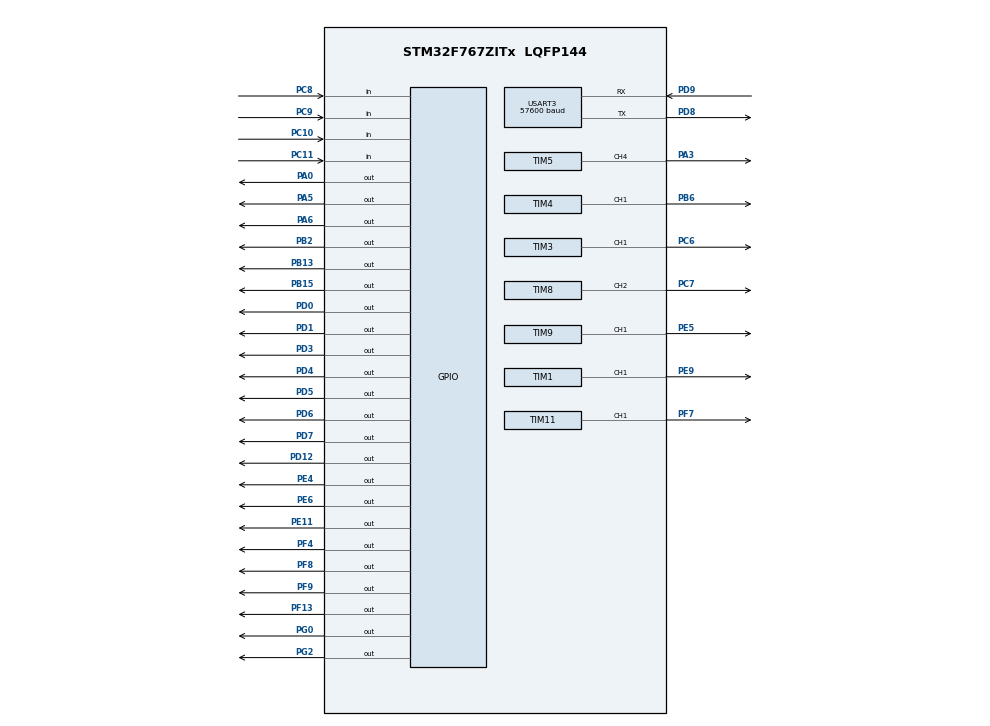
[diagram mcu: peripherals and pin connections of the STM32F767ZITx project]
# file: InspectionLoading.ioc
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CORTEX_M7.default_mode_Activation=1
Dma.Request0=TIM5_UP
Dma.Request1=TIM8_UP
Dma.TIM5_UP.0.Direction=DMA_MEMORY_TO_PERIPH
Dma.TIM5_UP.0.FIFOMode=DMA_FIFOMODE_DISABLE
Dma.TIM5_UP.0.Instance=DMA1_Stream6
Dma.TIM5_UP.0.MemDataAlignment=DMA_MDATAALIGN_WORD
Dma.TIM5_UP.0.MemInc=DMA_MINC_ENABLE
Dma.TIM5_UP.0.Mode=DMA_NORMAL
Dma.TIM5_UP.0.PeriphDataAlignment=DMA_PDATAALIGN_WORD
Dma.TIM5_UP.0.PeriphInc=DMA_PINC_DISABLE
Dma.TIM5_UP.0.Priority=DMA_PRIORITY_HIGH
Dma.TIM8_UP.1.Direction=DMA_MEMORY_TO_PERIPH
Dma.TIM8_UP.1.FIFOMode=DMA_FIFOMODE_DISABLE
Dma.TIM8_UP.1.Instance=DMA2_Stream1
Dma.TIM8_UP.1.MemDataAlignment=DMA_MDATAALIGN_HALFWORD
Dma.TIM8_UP.1.MemInc=DMA_MINC_ENABLE
Dma.TIM8_UP.1.Mode=DMA_NORMAL
Dma.TIM8_UP.1.PeriphDataAlignment=DMA_PDATAALIGN_HALFWORD
Dma.TIM8_UP.1.PeriphInc=DMA_PINC_DISABLE
Dma.TIM8_UP.1.Priority=DMA_PRIORITY_HIGH
FREERTOS.Tasks01=defaultTask,24,1024,StartDefaultTask,Default,NULL,Dynamic,NULL,NULL;myTask02,24,512,StartTask02,Default,NULL,Dynamic,NULL,NULL;myTask03,24,256,StartTask03,Default,NULL,Dynamic,NULL,NULL;myTask04,24,256,StartTask04,Default,NULL,Dynamic,NULL,NULL;myTask05,24,256,StartTask05,Default,NULL,Dynamic,NULL,NULL
FREERTOS.configUSE_NEWLIB_REENTRANT=1
Mcu.Family=STM32F7
Mcu.Name=STM32F767ZITx
Mcu.Package=LQFP144
NVIC.DMA1_Stream6_IRQn=true\:5\:0\:false\:false\:true\:true\:false\:true\:true
NVIC.DMA2_Stream1_IRQn=true\:5\:0\:false\:false\:true\:true\:false\:true\:true
NVIC.PriorityGroup=NVIC_PRIORITYGROUP_4
NVIC.TIM1_BRK_TIM9_IRQn=true\:5\:0\:false\:false\:true\:true\:true\:true\:true
NVIC.TIM1_CC_IRQn=true\:5\:0\:false\:false\:true\:true\:true\:true\:true
NVIC.TIM1_TRG_COM_TIM11_IRQn=true\:5\:0\:false\:false\:true\:true\:true\:true\:true
NVIC.TIM1_UP_TIM10_IRQn=true\:5\:0\:false\:false\:true\:true\:true\:true\:true
NVIC.TIM2_IRQn=true\:5\:0\:false\:false\:true\:true\:true\:true\:true
NVIC.TIM3_IRQn=true\:5\:0\:false\:false\:true\:true\:true\:true\:true
NVIC.TIM4_IRQn=true\:5\:0\:false\:false\:true\:true\:true\:true\:true
NVIC.TIM6_DAC_IRQn=true\:15\:0\:false\:false\:true\:false\:false\:true\:true
NVIC.TimeBase=TIM6_DAC_IRQn
NVIC.TimeBaseIP=TIM6
NVIC.USART3_IRQn=true\:5\:0\:false\:false\:true\:true\:true\:true\:true
PA0/WKUP.GPIO_PuPd=GPIO_PULLUP
PA0/WKUP.GPIO_Speed=GPIO_SPEED_FREQ_HIGH
PA0/WKUP.Signal=GPIO_Output
PA3.GPIO_Speed=GPIO_SPEED_FREQ_VERY_HIGH
PA3.Signal=S_TIM5_CH4
PA5.GPIO_PuPd=GPIO_PULLUP
PA5.GPIO_Speed=GPIO_SPEED_FREQ_HIGH
PA5.Signal=GPIO_Output
PA6.GPIO_PuPd=GPIO_PULLUP
PA6.GPIO_Speed=GPIO_SPEED_FREQ_HIGH
PA6.Signal=GPIO_Output
PB13.GPIO_PuPd=GPIO_PULLUP
PB13.GPIO_Speed=GPIO_SPEED_FREQ_HIGH
PB13.Signal=GPIO_Output
PB15.GPIO_PuPd=GPIO_PULLUP
PB15.GPIO_Speed=GPIO_SPEED_FREQ_HIGH
PB15.Signal=GPIO_Output
PB2.GPIO_PuPd=GPIO_PULLUP
PB2.GPIO_Speed=GPIO_SPEED_FREQ_HIGH
PB2.Signal=GPIO_Output
PB6.GPIO_Speed=GPIO_SPEED_FREQ_VERY_HIGH
PB6.Signal=S_TIM4_CH1
PC10.GPIO_PuPd=GPIO_PULLUP
PC10.Signal=GPIO_Input
PC11.GPIO_PuPd=GPIO_PULLUP
PC11.Signal=GPIO_Input
PC6.GPIO_Speed=GPIO_SPEED_FREQ_VERY_HIGH
PC6.Signal=S_TIM3_CH1
PC7.GPIO_Speed=GPIO_SPEED_FREQ_VERY_HIGH
PC7.Signal=S_TIM8_CH2
PC8.GPIO_PuPd=GPIO_PULLUP
PC8.Signal=GPIO_Input
PC9.GPIO_PuPd=GPIO_PULLUP
PC9.Signal=GPIO_Input
PD0.GPIO_PuPd=GPIO_PULLUP
PD0.GPIO_Speed=GPIO_SPEED_FREQ_HIGH
PD0.Signal=GPIO_Output
PD1.GPIO_PuPd=GPIO_PULLUP
PD1.GPIO_Speed=GPIO_SPEED_FREQ_HIGH
PD1.Signal=GPIO_Output
PD12.GPIO_PuPd=GPIO_PULLUP
PD12.GPIO_Speed=GPIO_SPEED_FREQ_HIGH
PD12.Signal=GPIO_Output
PD3.GPIO_PuPd=GPIO_PULLUP
PD3.GPIO_Speed=GPIO_SPEED_FREQ_HIGH
PD3.Signal=GPIO_Output
PD4.GPIO_PuPd=GPIO_PULLUP
PD4.GPIO_Speed=GPIO_SPEED_FREQ_HIGH
PD4.Signal=GPIO_Output
PD5.GPIO_PuPd=GPIO_PULLUP
PD5.GPIO_Speed=GPIO_SPEED_FREQ_HIGH
PD5.Signal=GPIO_Output
PD6.GPIO_PuPd=GPIO_PULLUP
PD6.GPIO_Speed=GPIO_SPEED_FREQ_HIGH
PD6.Signal=GPIO_Output
PD7.GPIO_PuPd=GPIO_PULLUP
PD7.GPIO_Speed=GPIO_SPEED_FREQ_HIGH
PD7.Signal=GPIO_Output
PD8.Mode=Asynchronous
PD8.Signal=USART3_TX
PD9.Mode=Asynchronous
PD9.Signal=USART3_RX
PE11.GPIO_PuPd=GPIO_PULLUP
PE11.GPIO_Speed=GPIO_SPEED_FREQ_HIGH
PE11.Signal=GPIO_Output
PE4.GPIO_PuPd=GPIO_PULLUP
PE4.GPIO_Speed=GPIO_SPEED_FREQ_HIGH
PE4.Signal=GPIO_Output
PE5.GPIO_Speed=GPIO_SPEED_FREQ_VERY_HIGH
PE5.Signal=S_TIM9_CH1
PE6.GPIO_PuPd=GPIO_PULLUP
PE6.GPIO_Speed=GPIO_SPEED_FREQ_HIGH
PE6.Signal=GPIO_Output
PE9.GPIO_Speed=GPIO_SPEED_FREQ_VERY_HIGH
PE9.Signal=S_TIM1_CH1
PF13.GPIO_PuPd=GPIO_PULLUP
PF13.GPIO_Speed=GPIO_SPEED_FREQ_HIGH
PF13.Signal=GPIO_Output
PF4.GPIO_PuPd=GPIO_PULLUP
PF4.GPIO_Speed=GPIO_SPEED_FREQ_HIGH
PF4.Signal=GPIO_Output
PF7.GPIO_Speed=GPIO_SPEED_FREQ_VERY_HIGH
PF7.Signal=S_TIM11_CH1
PF8.GPIO_PuPd=GPIO_PULLUP
PF8.GPIO_Speed=GPIO_SPEED_FREQ_HIGH
PF8.Signal=GPIO_Output
PF9.GPIO_PuPd=GPIO_PULLUP
PF9.GPIO_Speed=GPIO_SPEED_FREQ_HIGH
PF9.Signal=GPIO_Output
PG0.GPIO_PuPd=GPIO_PULLUP
PG0.GPIO_Speed=GPIO_SPEED_FREQ_HIGH
PG0.Signal=GPIO_Output
PG2.GPIO_PuPd=GPIO_PULLUP
PG2.GPIO_Speed=GPIO_SPEED_FREQ_HIGH
PG2.Signal=GPIO_Output
ProjectManager.HeapSize=0x200
ProjectManager.StackSize=0x400
ProjectManager.TargetToolchain=STM32CubeIDE
RCC.HSE_VALUE=25000000
RCC.HSI_VALUE=16000000
RCC.LSE_VALUE=32768
RCC.USBFreq_Value=96000000
RCC.VCOOutputFreq_Value=192000000
SH.S_TIM11_CH1.0=TIM11_CH1,PWM Generation1 CH1
SH.S_TIM1_CH1.0=TIM1_CH1,PWM Generation1 CH1
SH.S_TIM3_CH1.0=TIM3_CH1,PWM Generation1 CH1
SH.S_TIM4_CH1.0=TIM4_CH1,PWM Generation1 CH1
SH.S_TIM5_CH4.0=TIM5_CH4,PWM Generation4 CH4
SH.S_TIM8_CH2.0=TIM8_CH2,PWM Generation2 CH2
SH.S_TIM9_CH1.0=TIM9_CH1,PWM Generation1 CH1
TIM1.Channel-PWM\ Generation1\ CH1=TIM_CHANNEL_1
TIM1.Period=1499
TIM1.Prescaler=15
TIM1.Pulse-PWM\ Generation1\ CH1=749
TIM11.Channel=TIM_CHANNEL_1
TIM11.Period=1999
TIM11.Prescaler=15
TIM11.Pulse=999
TIM2.Period=1999
TIM2.Prescaler=15
TIM3.Channel-PWM\ Generation1\ CH1=TIM_CHANNEL_1
TIM3.Period=1299
TIM3.Prescaler=15
TIM3.Pulse-PWM\ Generation1\ CH1=649
TIM4.Channel-PWM\ Generation1\ CH1=TIM_CHANNEL_1
TIM4.Period=1999
TIM4.Prescaler=15
TIM4.Pulse-PWM\ Generation1\ CH1=999
TIM5.Channel-PWM\ Generation4\ CH4=TIM_CHANNEL_4
TIM5.OCMode_PWM-PWM\ Generation4\ CH4=TIM_OCMODE_PWM2
TIM5.Period=1999
TIM5.Prescaler=15
TIM5.Pulse-PWM\ Generation4\ CH4=999
TIM8.Channel-PWM\ Generation2\ CH2=TIM_CHANNEL_2
TIM8.OCMode_PWM-PWM\ Generation2\ CH2=TIM_OCMODE_PWM2
TIM8.Period=1999
TIM8.Prescaler=15
TIM8.Pulse-PWM\ Generation2\ CH2=999
TIM9.Channel-PWM\ Generation1\ CH1=TIM_CHANNEL_1
TIM9.Period=1999
TIM9.Prescaler=15
TIM9.Pulse-PWM\ Generation1\ CH1=999
USART3.BaudRate=57600
USART3.VirtualMode-Asynchronous=VM_ASYNC
VP_FREERTOS_VS_CMSIS_V2.Mode=CMSIS_V2
VP_SYS_VS_tim6.Mode=TIM6
VP_TIM11_VS_ClockSourceINT.Mode=Enable_Timer
VP_TIM1_VS_ClockSourceINT.Mode=Internal
VP_TIM2_VS_ClockSourceINT.Mode=Internal
VP_TIM3_VS_ClockSourceINT.Mode=Internal
VP_TIM4_VS_ClockSourceINT.Mode=Internal
VP_TIM5_VS_ClockSourceINT.Mode=Internal
VP_TIM8_VS_ClockSourceINT.Mode=Internal
VP_TIM9_VS_ClockSourceINT.Mode=Internal
board=custom

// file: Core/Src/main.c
/* USER CODE BEGIN Header */
/**
  ******************************************************************************
  * @file           : main.c
  * @brief          : Main program body
  ******************************************************************************
  * @attention
  *
  * Copyright (c) 2026 STMicroelectronics.
  * All rights reserved.
  *
  * This software is licensed under terms that can be found in the LICENSE file
  * in the root directory of this software component.
  * If no LICENSE file comes with this software, it is provided AS-IS.
  *
  ******************************************************************************
  */
/* USER CODE END Header */
#include "main.h"
#include "cmsis_os.h"

/* USER CODE BEGIN Includes */
#include "app_command.h"
#include "confirm_conveyor.h"
#include "rejector.h"
#include "robot_process.h"
#include "sensor.h"
#include "tracking.h"
#include "TrayLoader.h"
#include "uart.h"
#include "xyz_motion.h"

/* USER CODE END Includes */

TIM_HandleTypeDef htim1;
TIM_HandleTypeDef htim2;
TIM_HandleTypeDef htim3;
TIM_HandleTypeDef htim4;
TIM_HandleTypeDef htim5;
TIM_HandleTypeDef htim8;
TIM_HandleTypeDef htim9;
TIM_HandleTypeDef htim11;
DMA_HandleTypeDef hdma_tim5_up;
DMA_HandleTypeDef hdma_tim8_up;

UART_HandleTypeDef huart3;

/* Definitions for defaultTask */
osThreadId_t defaultTaskHandle;
const osThreadAttr_t defaultTask_attributes = {
  .name = "defaultTask",
  .stack_size = 1024 * 4,
  .priority = (osPriority_t) osPriorityNormal,
};
/* Definitions for myTask02 */
osThreadId_t myTask02Handle;
const osThreadAttr_t myTask02_attributes = {
  .name = "myTask02",
  .stack_size = 512 * 4,
  .priority = (osPriority_t) osPriorityNormal,
};
/* Definitions for myTask03 */
osThreadId_t myTask03Handle;
const osThreadAttr_t myTask03_attributes = {
  .name = "myTask03",
  .stack_size = 256 * 4,
  .priority = (osPriority_t) osPriorityNormal,
};
/* Definitions for myTask04 */
osThreadId_t myTask04Handle;
const osThreadAttr_t myTask04_attributes = {
  .name = "myTask04",
  .stack_size = 256 * 4,
  .priority = (osPriority_t) osPriorityNormal,
};
/* Definitions for myTask05 */
osThreadId_t myTask05Handle;
const osThreadAttr_t myTask05_attributes = {
  .name = "myTask05",
  .stack_size = 256 * 4,
  .priority = (osPriority_t) osPriorityNormal,
};

void SystemClock_Config(void);
static void MPU_Config(void);
static void MX_GPIO_Init(void);
static void MX_DMA_Init(void);
static void MX_TIM1_Init(void);
static void MX_TIM2_Init(void);
static void MX_TIM3_Init(void);
static void MX_TIM4_Init(void);
static void MX_TIM9_Init(void);
static void MX_TIM11_Init(void);
static void MX_USART3_UART_Init(void);
static void MX_TIM5_Init(void);
static void MX_TIM8_Init(void);
void StartDefaultTask(void *argument);
void StartTask02(void *argument);
void StartTask03(void *argument);
void StartTask04(void *argument);
void StartTask05(void *argument);

int main(void)
{

  /* MPU Configuration--------------------------------------------------------*/
  MPU_Config();

  /* MCU Configuration--------------------------------------------------------*/

  /* Reset of all peripherals, Initializes the Flash interface and the Systick. */
  HAL_Init();

  /* Configure the system clock */
  SystemClock_Config();

  /* Initialize all configured peripherals */
  MX_GPIO_Init();
  MX_DMA_Init();
  MX_TIM1_Init();
  MX_TIM2_Init();
  MX_TIM3_Init();
  MX_TIM4_Init();
  MX_TIM9_Init();
  MX_TIM11_Init();
  MX_USART3_UART_Init();
  MX_TIM5_Init();
  MX_TIM8_Init();
  /* USER CODE BEGIN 2 */
  XYZ_Init();         // cartesian robot reset
  Tray_Init();        // tracking state reset
  TrayLoader_Init();  // tray loader reset
  ConfirmConveyor_Init();
  Rejector_Init();    // rejector reset

  RobotProcessCallbacks_t robot_process_callbacks =
  {
    .send_status = UART_SendMessage,
    .notify_first_placement_started = TrayLoader_NotifyFirstPlacementStarted,
    .start_confirm_conveyor = ConfirmConveyor_Start
  };
  RobotProcess_Init(&robot_process_callbacks);

  SensorCallbacks_t sensor_callbacks =
  {
    .on_tray_pc9_detected = Tray_HandlePc9Detected,
    .on_tray_pc10_detected = Tray_HandlePc10Detected
  };
  Sensor_Init(&sensor_callbacks);

  if (UART_Comm_Init(&huart3) != HAL_OK)
  {
    Error_Handler();
  }

  /* USER CODE END 2 */

  /* Init scheduler */
  osKernelInitialize();

  /* Create the thread(s) */
  /* creation of defaultTask */
  defaultTaskHandle = osThreadNew(StartDefaultTask, NULL, &defaultTask_attributes);

  /* creation of myTask02 */
  myTask02Handle = osThreadNew(StartTask02, NULL, &myTask02_attributes);

  /* creation of myTask03 */
  myTask03Handle = osThreadNew(StartTask03, NULL, &myTask03_attributes);

  /* creation of myTask04 */
  myTask04Handle = osThreadNew(StartTask04, NULL, &myTask04_attributes);

  /* creation of myTask05 */
  myTask05Handle = osThreadNew(StartTask05, NULL, &myTask05_attributes);

  /* Start scheduler */
  osKernelStart();

  /* We should never get here as control is now taken by the scheduler */

  /* Infinite loop */
  while (1)
  {

  }
}

void SystemClock_Config(void)
{
  RCC_OscInitTypeDef RCC_OscInitStruct = {0};
  RCC_ClkInitTypeDef RCC_ClkInitStruct = {0};

  /** Configure the main internal regulator output voltage
  */
  __HAL_RCC_PWR_CLK_ENABLE();
  __HAL_PWR_VOLTAGESCALING_CONFIG(PWR_REGULATOR_VOLTAGE_SCALE3);

  /** Initializes the RCC Oscillators according to the specified parameters
  * in the RCC_OscInitTypeDef structure.
  */
  RCC_OscInitStruct.OscillatorType = RCC_OSCILLATORTYPE_HSI;
  RCC_OscInitStruct.HSIState = RCC_HSI_ON;
  RCC_OscInitStruct.HSICalibrationValue = RCC_HSICALIBRATION_DEFAULT;
  RCC_OscInitStruct.PLL.PLLState = RCC_PLL_NONE;
  if (HAL_RCC_OscConfig(&RCC_OscInitStruct) != HAL_OK)
  {
    Error_Handler();
  }

  /** Initializes the CPU, AHB and APB buses clocks
  */
  RCC_ClkInitStruct.ClockType = RCC_CLOCKTYPE_HCLK|RCC_CLOCKTYPE_SYSCLK
                              |RCC_CLOCKTYPE_PCLK1|RCC_CLOCKTYPE_PCLK2;
  RCC_ClkInitStruct.SYSCLKSource = RCC_SYSCLKSOURCE_HSI;
  RCC_ClkInitStruct.AHBCLKDivider = RCC_SYSCLK_DIV1;
  RCC_ClkInitStruct.APB1CLKDivider = RCC_HCLK_DIV1;
  RCC_ClkInitStruct.APB2CLKDivider = RCC_HCLK_DIV1;

  if (HAL_RCC_ClockConfig(&RCC_ClkInitStruct, FLASH_LATENCY_0) != HAL_OK)
  {
    Error_Handler();
  }
}

static void MX_TIM1_Init(void)
{

  TIM_ClockConfigTypeDef sClockSourceConfig = {0};
  TIM_MasterConfigTypeDef sMasterConfig = {0};
  TIM_OC_InitTypeDef sConfigOC = {0};
  TIM_BreakDeadTimeConfigTypeDef sBreakDeadTimeConfig = {0};

  htim1.Instance = TIM1;
  htim1.Init.Prescaler = 15;
  htim1.Init.CounterMode = TIM_COUNTERMODE_UP;
  htim1.Init.Period = 1499;
  htim1.Init.ClockDivision = TIM_CLOCKDIVISION_DIV1;
  htim1.Init.RepetitionCounter = 0;
  htim1.Init.AutoReloadPreload = TIM_AUTORELOAD_PRELOAD_DISABLE;
  if (HAL_TIM_Base_Init(&htim1) != HAL_OK)
  {
    Error_Handler();
  }
  sClockSourceConfig.ClockSource = TIM_CLOCKSOURCE_INTERNAL;
  if (HAL_TIM_ConfigClockSource(&htim1, &sClockSourceConfig) != HAL_OK)
  {
    Error_Handler();
  }
  if (HAL_TIM_PWM_Init(&htim1) != HAL_OK)
  {
    Error_Handler();
  }
  sMasterConfig.MasterOutputTrigger = TIM_TRGO_RESET;
  sMasterConfig.MasterOutputTrigger2 = TIM_TRGO2_RESET;
  sMasterConfig.MasterSlaveMode = TIM_MASTERSLAVEMODE_DISABLE;
  if (HAL_TIMEx_MasterConfigSynchronization(&htim1, &sMasterConfig) != HAL_OK)
  {
    Error_Handler();
  }
  sConfigOC.OCMode = TIM_OCMODE_PWM1;
  sConfigOC.Pulse = 749;
  sConfigOC.OCPolarity = TIM_OCPOLARITY_HIGH;
  sConfigOC.OCNPolarity = TIM_OCNPOLARITY_HIGH;
  sConfigOC.OCFastMode = TIM_OCFAST_DISABLE;
  sConfigOC.OCIdleState = TIM_OCIDLESTATE_RESET;
  sConfigOC.OCNIdleState = TIM_OCNIDLESTATE_RESET;
  if (HAL_TIM_PWM_ConfigChannel(&htim1, &sConfigOC, TIM_CHANNEL_1) != HAL_OK)
  {
    Error_Handler();
  }
  sBreakDeadTimeConfig.OffStateRunMode = TIM_OSSR_DISABLE;
  sBreakDeadTimeConfig.OffStateIDLEMode = TIM_OSSI_DISABLE;
  sBreakDeadTimeConfig.LockLevel = TIM_LOCKLEVEL_OFF;
  sBreakDeadTimeConfig.DeadTime = 0;
  sBreakDeadTimeConfig.BreakState = TIM_BREAK_DISABLE;
  sBreakDeadTimeConfig.BreakPolarity = TIM_BREAKPOLARITY_HIGH;
  sBreakDeadTimeConfig.BreakFilter = 0;
  sBreakDeadTimeConfig.Break2State = TIM_BREAK2_DISABLE;
  sBreakDeadTimeConfig.Break2Polarity = TIM_BREAK2POLARITY_HIGH;
  sBreakDeadTimeConfig.Break2Filter = 0;
  sBreakDeadTimeConfig.AutomaticOutput = TIM_AUTOMATICOUTPUT_DISABLE;
  if (HAL_TIMEx_ConfigBreakDeadTime(&htim1, &sBreakDeadTimeConfig) != HAL_OK)
  {
    Error_Handler();
  }
  HAL_TIM_MspPostInit(&htim1);

}

static void MX_TIM2_Init(void)
{

  TIM_ClockConfigTypeDef sClockSourceConfig = {0};
  TIM_MasterConfigTypeDef sMasterConfig = {0};

  htim2.Instance = TIM2;
  htim2.Init.Prescaler = 15;
  htim2.Init.CounterMode = TIM_COUNTERMODE_UP;
  htim2.Init.Period = 1999;
  htim2.Init.ClockDivision = TIM_CLOCKDIVISION_DIV1;
  htim2.Init.AutoReloadPreload = TIM_AUTORELOAD_PRELOAD_DISABLE;
  if (HAL_TIM_Base_Init(&htim2) != HAL_OK)
  {
    Error_Handler();
  }
  sClockSourceConfig.ClockSource = TIM_CLOCKSOURCE_INTERNAL;
  if (HAL_TIM_ConfigClockSource(&htim2, &sClockSourceConfig) != HAL_OK)
  {
    Error_Handler();
  }
  sMasterConfig.MasterOutputTrigger = TIM_TRGO_RESET;
  sMasterConfig.MasterSlaveMode = TIM_MASTERSLAVEMODE_DISABLE;
  if (HAL_TIMEx_MasterConfigSynchronization(&htim2, &sMasterConfig) != HAL_OK)
  {
    Error_Handler();
  }

}

static void MX_TIM3_Init(void)
{

  TIM_ClockConfigTypeDef sClockSourceConfig = {0};
  TIM_MasterConfigTypeDef sMasterConfig = {0};
  TIM_OC_InitTypeDef sConfigOC = {0};

  htim3.Instance = TIM3;
  htim3.Init.Prescaler = 15;
  htim3.Init.CounterMode = TIM_COUNTERMODE_UP;
  htim3.Init.Period = 1299;
  htim3.Init.ClockDivision = TIM_CLOCKDIVISION_DIV1;
  htim3.Init.AutoReloadPreload = TIM_AUTORELOAD_PRELOAD_DISABLE;
  if (HAL_TIM_Base_Init(&htim3) != HAL_OK)
  {
    Error_Handler();
  }
  sClockSourceConfig.ClockSource = TIM_CLOCKSOURCE_INTERNAL;
  if (HAL_TIM_ConfigClockSource(&htim3, &sClockSourceConfig) != HAL_OK)
  {
    Error_Handler();
  }
  if (HAL_TIM_PWM_Init(&htim3) != HAL_OK)
  {
    Error_Handler();
  }
  sMasterConfig.MasterOutputTrigger = TIM_TRGO_RESET;
  sMasterConfig.MasterSlaveMode = TIM_MASTERSLAVEMODE_DISABLE;
  if (HAL_TIMEx_MasterConfigSynchronization(&htim3, &sMasterConfig) != HAL_OK)
  {
    Error_Handler();
  }
  sConfigOC.OCMode = TIM_OCMODE_PWM1;
  sConfigOC.Pulse = 649;
  sConfigOC.OCPolarity = TIM_OCPOLARITY_HIGH;
  sConfigOC.OCFastMode = TIM_OCFAST_DISABLE;
  if (HAL_TIM_PWM_ConfigChannel(&htim3, &sConfigOC, TIM_CHANNEL_1) != HAL_OK)
  {
    Error_Handler();
  }
  HAL_TIM_MspPostInit(&htim3);

}

static void MX_TIM4_Init(void)
{

  TIM_ClockConfigTypeDef sClockSourceConfig = {0};
  TIM_MasterConfigTypeDef sMasterConfig = {0};
  TIM_OC_InitTypeDef sConfigOC = {0};

  htim4.Instance = TIM4;
  htim4.Init.Prescaler = 15;
  htim4.Init.CounterMode = TIM_COUNTERMODE_UP;
  htim4.Init.Period = 1999;
  htim4.Init.ClockDivision = TIM_CLOCKDIVISION_DIV1;
  htim4.Init.AutoReloadPreload = TIM_AUTORELOAD_PRELOAD_DISABLE;
  if (HAL_TIM_Base_Init(&htim4) != HAL_OK)
  {
    Error_Handler();
  }
  sClockSourceConfig.ClockSource = TIM_CLOCKSOURCE_INTERNAL;
  if (HAL_TIM_ConfigClockSource(&htim4, &sClockSourceConfig) != HAL_OK)
  {
    Error_Handler();
  }
  if (HAL_TIM_PWM_Init(&htim4) != HAL_OK)
  {
    Error_Handler();
  }
  sMasterConfig.MasterOutputTrigger = TIM_TRGO_RESET;
  sMasterConfig.MasterSlaveMode = TIM_MASTERSLAVEMODE_DISABLE;
  if (HAL_TIMEx_MasterConfigSynchronization(&htim4, &sMasterConfig) != HAL_OK)
  {
    Error_Handler();
  }
  sConfigOC.OCMode = TIM_OCMODE_PWM1;
  sConfigOC.Pulse = 999;
  sConfigOC.OCPolarity = TIM_OCPOLARITY_HIGH;
  sConfigOC.OCFastMode = TIM_OCFAST_DISABLE;
  if (HAL_TIM_PWM_ConfigChannel(&htim4, &sConfigOC, TIM_CHANNEL_1) != HAL_OK)
  {
    Error_Handler();
  }
  HAL_TIM_MspPostInit(&htim4);

}

static void MX_TIM5_Init(void)
{

  TIM_ClockConfigTypeDef sClockSourceConfig = {0};
  TIM_MasterConfigTypeDef sMasterConfig = {0};
  TIM_OC_InitTypeDef sConfigOC = {0};

  htim5.Instance = TIM5;
  htim5.Init.Prescaler = 15;
  htim5.Init.CounterMode = TIM_COUNTERMODE_UP;
  htim5.Init.Period = 1999;
  htim5.Init.ClockDivision = TIM_CLOCKDIVISION_DIV1;
  htim5.Init.AutoReloadPreload = TIM_AUTORELOAD_PRELOAD_DISABLE;
  if (HAL_TIM_Base_Init(&htim5) != HAL_OK)
  {
    Error_Handler();
  }
  sClockSourceConfig.ClockSource = TIM_CLOCKSOURCE_INTERNAL;
  if (HAL_TIM_ConfigClockSource(&htim5, &sClockSourceConfig) != HAL_OK)
  {
    Error_Handler();
  }
  if (HAL_TIM_PWM_Init(&htim5) != HAL_OK)
  {
    Error_Handler();
  }
  sMasterConfig.MasterOutputTrigger = TIM_TRGO_RESET;
  sMasterConfig.MasterSlaveMode = TIM_MASTERSLAVEMODE_DISABLE;
  if (HAL_TIMEx_MasterConfigSynchronization(&htim5, &sMasterConfig) != HAL_OK)
  {
    Error_Handler();
  }
  sConfigOC.OCMode = TIM_OCMODE_PWM2;
  sConfigOC.Pulse = 999;
  sConfigOC.OCPolarity = TIM_OCPOLARITY_HIGH;
  sConfigOC.OCFastMode = TIM_OCFAST_DISABLE;
  if (HAL_TIM_PWM_ConfigChannel(&htim5, &sConfigOC, TIM_CHANNEL_4) != HAL_OK)
  {
    Error_Handler();
  }
  HAL_TIM_MspPostInit(&htim5);

}

static void MX_TIM8_Init(void)
{

  TIM_ClockConfigTypeDef sClockSourceConfig = {0};
  TIM_MasterConfigTypeDef sMasterConfig = {0};
  TIM_OC_InitTypeDef sConfigOC = {0};
  TIM_BreakDeadTimeConfigTypeDef sBreakDeadTimeConfig = {0};

  htim8.Instance = TIM8;
  htim8.Init.Prescaler = 15;
  htim8.Init.CounterMode = TIM_COUNTERMODE_UP;
  htim8.Init.Period = 1999;
  htim8.Init.ClockDivision = TIM_CLOCKDIVISION_DIV1;
  htim8.Init.RepetitionCounter = 0;
  htim8.Init.AutoReloadPreload = TIM_AUTORELOAD_PRELOAD_DISABLE;
  if (HAL_TIM_Base_Init(&htim8) != HAL_OK)
  {
    Error_Handler();
  }
  sClockSourceConfig.ClockSource = TIM_CLOCKSOURCE_INTERNAL;
  if (HAL_TIM_ConfigClockSource(&htim8, &sClockSourceConfig) != HAL_OK)
  {
    Error_Handler();
  }
  if (HAL_TIM_PWM_Init(&htim8) != HAL_OK)
  {
    Error_Handler();
  }
  sMasterConfig.MasterOutputTrigger = TIM_TRGO_RESET;
  sMasterConfig.MasterOutputTrigger2 = TIM_TRGO2_RESET;
  sMasterConfig.MasterSlaveMode = TIM_MASTERSLAVEMODE_DISABLE;
  if (HAL_TIMEx_MasterConfigSynchronization(&htim8, &sMasterConfig) != HAL_OK)
  {
    Error_Handler();
  }
  sConfigOC.OCMode = TIM_OCMODE_PWM2;
  sConfigOC.Pulse = 999;
  sConfigOC.OCPolarity = TIM_OCPOLARITY_HIGH;
  sConfigOC.OCNPolarity = TIM_OCNPOLARITY_HIGH;
  sConfigOC.OCFastMode = TIM_OCFAST_DISABLE;
  sConfigOC.OCIdleState = TIM_OCIDLESTATE_RESET;
  sConfigOC.OCNIdleState = TIM_OCNIDLESTATE_RESET;
  if (HAL_TIM_PWM_ConfigChannel(&htim8, &sConfigOC, TIM_CHANNEL_2) != HAL_OK)
  {
    Error_Handler();
  }
  sBreakDeadTimeConfig.OffStateRunMode = TIM_OSSR_DISABLE;
  sBreakDeadTimeConfig.OffStateIDLEMode = TIM_OSSI_DISABLE;
  sBreakDeadTimeConfig.LockLevel = TIM_LOCKLEVEL_OFF;
  sBreakDeadTimeConfig.DeadTime = 0;
  sBreakDeadTimeConfig.BreakState = TIM_BREAK_DISABLE;
  sBreakDeadTimeConfig.BreakPolarity = TIM_BREAKPOLARITY_HIGH;
  sBreakDeadTimeConfig.BreakFilter = 0;
  sBreakDeadTimeConfig.Break2State = TIM_BREAK2_DISABLE;
  sBreakDeadTimeConfig.Break2Polarity = TIM_BREAK2POLARITY_HIGH;
  sBreakDeadTimeConfig.Break2Filter = 0;
  sBreakDeadTimeConfig.AutomaticOutput = TIM_AUTOMATICOUTPUT_DISABLE;
  if (HAL_TIMEx_ConfigBreakDeadTime(&htim8, &sBreakDeadTimeConfig) != HAL_OK)
  {
    Error_Handler();
  }
  HAL_TIM_MspPostInit(&htim8);

}

static void MX_TIM9_Init(void)
{

  TIM_ClockConfigTypeDef sClockSourceConfig = {0};
  TIM_OC_InitTypeDef sConfigOC = {0};

  htim9.Instance = TIM9;
  htim9.Init.Prescaler = 15;
  htim9.Init.CounterMode = TIM_COUNTERMODE_UP;
  htim9.Init.Period = 1999;
  htim9.Init.ClockDivision = TIM_CLOCKDIVISION_DIV1;
  htim9.Init.AutoReloadPreload = TIM_AUTORELOAD_PRELOAD_DISABLE;
  if (HAL_TIM_Base_Init(&htim9) != HAL_OK)
  {
    Error_Handler();
  }
  sClockSourceConfig.ClockSource = TIM_CLOCKSOURCE_INTERNAL;
  if (HAL_TIM_ConfigClockSource(&htim9, &sClockSourceConfig) != HAL_OK)
  {
    Error_Handler();
  }
  if (HAL_TIM_PWM_Init(&htim9) != HAL_OK)
  {
    Error_Handler();
  }
  sConfigOC.OCMode = TIM_OCMODE_PWM1;
  sConfigOC.Pulse = 999;
  sConfigOC.OCPolarity = TIM_OCPOLARITY_HIGH;
  sConfigOC.OCFastMode = TIM_OCFAST_DISABLE;
  if (HAL_TIM_PWM_ConfigChannel(&htim9, &sConfigOC, TIM_CHANNEL_1) != HAL_OK)
  {
    Error_Handler();
  }
  HAL_TIM_MspPostInit(&htim9);

}

static void MX_TIM11_Init(void)
{

  TIM_OC_InitTypeDef sConfigOC = {0};

  htim11.Instance = TIM11;
  htim11.Init.Prescaler = 15;
  htim11.Init.CounterMode = TIM_COUNTERMODE_UP;
  htim11.Init.Period = 1999;
  htim11.Init.ClockDivision = TIM_CLOCKDIVISION_DIV1;
  htim11.Init.AutoReloadPreload = TIM_AUTORELOAD_PRELOAD_DISABLE;
  if (HAL_TIM_Base_Init(&htim11) != HAL_OK)
  {
    Error_Handler();
  }
  if (HAL_TIM_PWM_Init(&htim11) != HAL_OK)
  {
    Error_Handler();
  }
  sConfigOC.OCMode = TIM_OCMODE_PWM1;
  sConfigOC.Pulse = 999;
  sConfigOC.OCPolarity = TIM_OCPOLARITY_HIGH;
  sConfigOC.OCFastMode = TIM_OCFAST_DISABLE;
  if (HAL_TIM_PWM_ConfigChannel(&htim11, &sConfigOC, TIM_CHANNEL_1) != HAL_OK)
  {
    Error_Handler();
  }
  HAL_TIM_MspPostInit(&htim11);

}

static void MX_USART3_UART_Init(void)
{

  huart3.Instance = USART3;
  huart3.Init.BaudRate = 57600;
  huart3.Init.WordLength = UART_WORDLENGTH_8B;
  huart3.Init.StopBits = UART_STOPBITS_1;
  huart3.Init.Parity = UART_PARITY_NONE;
  huart3.Init.Mode = UART_MODE_TX_RX;
  huart3.Init.HwFlowCtl = UART_HWCONTROL_NONE;
  huart3.Init.OverSampling = UART_OVERSAMPLING_16;
  huart3.Init.OneBitSampling = UART_ONE_BIT_SAMPLE_DISABLE;
  huart3.AdvancedInit.AdvFeatureInit = UART_ADVFEATURE_NO_INIT;
  if (HAL_UART_Init(&huart3) != HAL_OK)
  {
    Error_Handler();
  }

}

static void MX_DMA_Init(void)
{

  /* DMA controller clock enable */
  __HAL_RCC_DMA1_CLK_ENABLE();
  __HAL_RCC_DMA2_CLK_ENABLE();

  /* DMA interrupt init */
  /* DMA1_Stream6_IRQn interrupt configuration */
  HAL_NVIC_SetPriority(DMA1_Stream6_IRQn, 5, 0);
  HAL_NVIC_EnableIRQ(DMA1_Stream6_IRQn);
  /* DMA2_Stream1_IRQn interrupt configuration */
  HAL_NVIC_SetPriority(DMA2_Stream1_IRQn, 5, 0);
  HAL_NVIC_EnableIRQ(DMA2_Stream1_IRQn);

}

static void MX_GPIO_Init(void)
{
  GPIO_InitTypeDef GPIO_InitStruct = {0};

  /* GPIO Ports Clock Enable */
  __HAL_RCC_GPIOE_CLK_ENABLE();
  __HAL_RCC_GPIOF_CLK_ENABLE();
  __HAL_RCC_GPIOA_CLK_ENABLE();
  __HAL_RCC_GPIOB_CLK_ENABLE();
  __HAL_RCC_GPIOG_CLK_ENABLE();
  __HAL_RCC_GPIOD_CLK_ENABLE();
  __HAL_RCC_GPIOC_CLK_ENABLE();

  /*Configure GPIO pin Output Level */
  HAL_GPIO_WritePin(GPIOE, GPIO_PIN_4|GPIO_PIN_6|GPIO_PIN_11, GPIO_PIN_RESET);

  /*Configure GPIO pin Output Level */
  HAL_GPIO_WritePin(GPIOF, GPIO_PIN_4|GPIO_PIN_8|GPIO_PIN_9|GPIO_PIN_13, GPIO_PIN_RESET);

  /*Configure GPIO pin Output Level */
  HAL_GPIO_WritePin(GPIOA, GPIO_PIN_0|GPIO_PIN_5|GPIO_PIN_6, GPIO_PIN_RESET);

  /*Configure GPIO pin Output Level */
  HAL_GPIO_WritePin(GPIOB, GPIO_PIN_2|GPIO_PIN_13|GPIO_PIN_15, GPIO_PIN_RESET);

  /*Configure GPIO pin Output Level */
  HAL_GPIO_WritePin(GPIOG, GPIO_PIN_0|GPIO_PIN_2, GPIO_PIN_RESET);

  /*Configure GPIO pin Output Level */
  HAL_GPIO_WritePin(GPIOD, GPIO_PIN_12|GPIO_PIN_0|GPIO_PIN_1|GPIO_PIN_3
                          |GPIO_PIN_4|GPIO_PIN_5|GPIO_PIN_6|GPIO_PIN_7, GPIO_PIN_RESET);

  /*Configure GPIO pins : PE4 PE6 PE11 */
  GPIO_InitStruct.Pin = GPIO_PIN_4|GPIO_PIN_6|GPIO_PIN_11;
  GPIO_InitStruct.Mode = GPIO_MODE_OUTPUT_PP;
  GPIO_InitStruct.Pull = GPIO_PULLUP;
  GPIO_InitStruct.Speed = GPIO_SPEED_FREQ_HIGH;
  HAL_GPIO_Init(GPIOE, &GPIO_InitStruct);

  /*Configure GPIO pins : PF4 PF8 PF9 PF13 */
  GPIO_InitStruct.Pin = GPIO_PIN_4|GPIO_PIN_8|GPIO_PIN_9|GPIO_PIN_13;
  GPIO_InitStruct.Mode = GPIO_MODE_OUTPUT_PP;
  GPIO_InitStruct.Pull = GPIO_PULLUP;
  GPIO_InitStruct.Speed = GPIO_SPEED_FREQ_HIGH;
  HAL_GPIO_Init(GPIOF, &GPIO_InitStruct);

  /*Configure GPIO pins : PA0 PA5 PA6 */
  GPIO_InitStruct.Pin = GPIO_PIN_0|GPIO_PIN_5|GPIO_PIN_6;
  GPIO_InitStruct.Mode = GPIO_MODE_OUTPUT_PP;
  GPIO_InitStruct.Pull = GPIO_PULLUP;
  GPIO_InitStruct.Speed = GPIO_SPEED_FREQ_HIGH;
  HAL_GPIO_Init(GPIOA, &GPIO_InitStruct);

  /*Configure GPIO pins : PB2 PB13 PB15 */
  GPIO_InitStruct.Pin = GPIO_PIN_2|GPIO_PIN_13|GPIO_PIN_15;
  GPIO_InitStruct.Mode = GPIO_MODE_OUTPUT_PP;
  GPIO_InitStruct.Pull = GPIO_PULLUP;
  GPIO_InitStruct.Speed = GPIO_SPEED_FREQ_HIGH;
  HAL_GPIO_Init(GPIOB, &GPIO_InitStruct);

  /*Configure GPIO pins : PG0 PG2 */
  GPIO_InitStruct.Pin = GPIO_PIN_0|GPIO_PIN_2;
  GPIO_InitStruct.Mode = GPIO_MODE_OUTPUT_PP;
  GPIO_InitStruct.Pull = GPIO_PULLUP;
  GPIO_InitStruct.Speed = GPIO_SPEED_FREQ_HIGH;
  HAL_GPIO_Init(GPIOG, &GPIO_InitStruct);

  /*Configure GPIO pins : PD12 PD0 PD1 PD3
                           PD4 PD5 PD6 PD7 */
  GPIO_InitStruct.Pin = GPIO_PIN_12|GPIO_PIN_0|GPIO_PIN_1|GPIO_PIN_3
                          |GPIO_PIN_4|GPIO_PIN_5|GPIO_PIN_6|GPIO_PIN_7;
  GPIO_InitStruct.Mode = GPIO_MODE_OUTPUT_PP;
  GPIO_InitStruct.Pull = GPIO_PULLUP;
  GPIO_InitStruct.Speed = GPIO_SPEED_FREQ_HIGH;
  HAL_GPIO_Init(GPIOD, &GPIO_InitStruct);

  /*Configure GPIO pins : PC8 PC9 PC10 PC11 */
  GPIO_InitStruct.Pin = GPIO_PIN_8|GPIO_PIN_9|GPIO_PIN_10|GPIO_PIN_11;
  GPIO_InitStruct.Mode = GPIO_MODE_INPUT;
  GPIO_InitStruct.Pull = GPIO_PULLUP;
  HAL_GPIO_Init(GPIOC, &GPIO_InitStruct);

}

void StartDefaultTask(void *argument)
{
  /* USER CODE BEGIN 5 */
  (void)argument;

  RobotProcess_RunInitialSequence();

  /* Infinite loop */
  for(;;)
  {
    (void)RobotProcess_RunPending();

    osDelay(1);
  }
  /* USER CODE END 5 */
}

void StartTask02(void *argument)
{
  /* USER CODE BEGIN StartTask02 */
  char line[UART_RX_LINE_SIZE];

  /* Infinite loop */
  for(;;)
  {
    UART_Process();

    while (UART_GetLine(line, sizeof(line)) != 0U)
    {
      AppCommand_ProcessLine(line);
    }
		osDelay(1);
  }
  /* USER CODE END StartTask02 */
}

void StartTask03(void *argument)
{
  /* USER CODE BEGIN StartTask03 */

  /* Infinite loop */
  for(;;)
  {
    uint32_t now_tick = HAL_GetTick();
    /* 트레이 위치 갱신 */
    Tray_UpdatePosition(now_tick);

    /* PC8, PC10 제품 센서와 PC9 트레이 센서 확인 */
    Sensor_Update(now_tick);

	  osDelay(1);
  }
  /* USER CODE END StartTask03 */
}

void StartTask04(void *argument)
{
  /* USER CODE BEGIN StartTask04 */
  static uint8_t dma_error_reported = 0U;

  (void)argument;

  /* Infinite loop */
  for(;;)
  {
    TrayLoader_ProcessAutoSupply();

    if (TrayLoader_HasDmaError() != 0U)
    {
      if (dma_error_reported == 0U)
      {
        UART_SendMessage("LOADER_DMA_ERROR\r\n");
        dma_error_reported = 1U;
      }
    }
    else
    {
      dma_error_reported = 0U;
      TrayLoader_ProcessAutoSupply();
    }

    osDelay(1);
  }
  /* USER CODE END StartTask04 */
}

void StartTask05(void *argument)
{
  /* USER CODE BEGIN StartTask05 */
  (void)argument;

  /* Infinite loop */
  for(;;)
  {
    Rejector_Process();

    osDelay(1);
  }
  /* USER CODE END StartTask05 */
}

 /* MPU Configuration */

void MPU_Config(void)
{
  MPU_Region_InitTypeDef MPU_InitStruct = {0};

  /* Disables the MPU */
  HAL_MPU_Disable();

  /** Initializes and configures the Region and the memory to be protected
  */
  MPU_InitStruct.Enable = MPU_REGION_ENABLE;
  MPU_InitStruct.Number = MPU_REGION_NUMBER0;
  MPU_InitStruct.BaseAddress = 0x0;
  MPU_InitStruct.Size = MPU_REGION_SIZE_4GB;
  MPU_InitStruct.SubRegionDisable = 0x87;
  MPU_InitStruct.TypeExtField = MPU_TEX_LEVEL0;
  MPU_InitStruct.AccessPermission = MPU_REGION_NO_ACCESS;
  MPU_InitStruct.DisableExec = MPU_INSTRUCTION_ACCESS_DISABLE;
  MPU_InitStruct.IsShareable = MPU_ACCESS_SHAREABLE;
  MPU_InitStruct.IsCacheable = MPU_ACCESS_NOT_CACHEABLE;
  MPU_InitStruct.IsBufferable = MPU_ACCESS_NOT_BUFFERABLE;

  HAL_MPU_ConfigRegion(&MPU_InitStruct);
  /* Enables the MPU */
  HAL_MPU_Enable(MPU_PRIVILEGED_DEFAULT);

}

void HAL_TIM_PeriodElapsedCallback(TIM_HandleTypeDef *htim)
{
  if (htim->Instance == TIM6) {
    HAL_IncTick();
  }
  /* USER CODE BEGIN Callback 1 */
  /* 리젝터 제어용 TIM1 */
  if (htim->Instance == TIM1)
  {
      Rejector_TIM1Callback();
      return;
  }
  /* XYZ 직교로봇 STEP 제어용 TIM2 */
	if (htim->Instance == TIM2)
	{
	  XYZ_TIM2Callback();
	  return;
	}
  /* USER CODE END Callback 1 */
}

void Error_Handler(void)
{
  __disable_irq();
  while (1)
  {
  }
}
